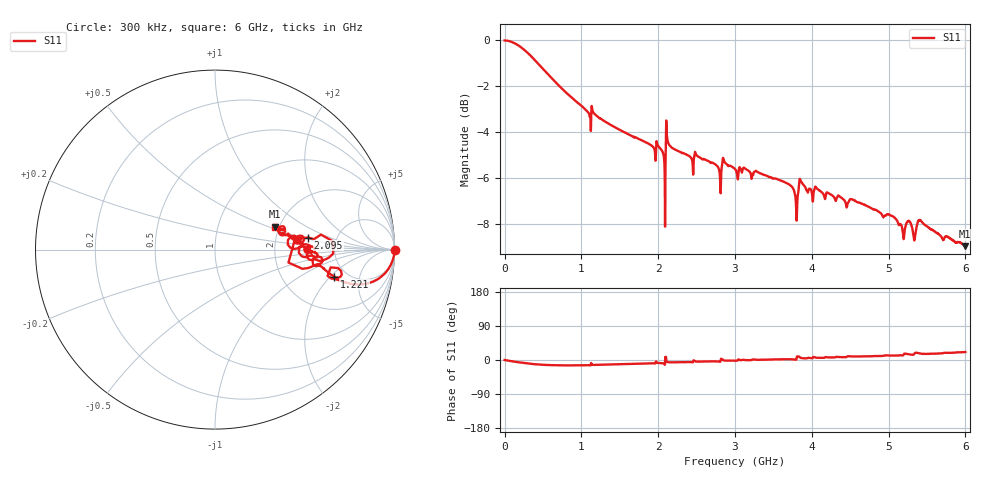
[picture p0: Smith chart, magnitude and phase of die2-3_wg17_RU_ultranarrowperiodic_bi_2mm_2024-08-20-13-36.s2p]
!Keysight Technologies,P9374A,MY57304198,A.17.20.09
!Date: Tuesday, August 20, 2024 13:36:56
!Correction: S11(C  1-Port  )
!S21(C  1-Port  )
!S12(Off)
!S22(Off)
!S2P File: Measurements: S11, S21, S12, S22:
# Hz S  dB  R 50
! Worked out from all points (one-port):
!   6000 points, 300 kHz to 6 GHz, reference 50 ohm
!   lowest |S11| = -9.0 dB at 5.999 GHz (marker M1), VSWR 2.11, Z = 94.5 + j27.8 ohm
!   |S11| at or under -10 dB: nowhere
!   S11 on the Smith chart (normalised r, x): 300 kHz: open; 1.221 GHz: 3.95, -2.22; 2.095 GHz: 3.08, +0.57; 6 GHz: 1.89, +0.56
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300000  0.00 -0.0  -200.00 45.0  -200.00 45.0  -200.00 45.0
2.31327e8  -0.34 -7.4  -200.00 45.0  -200.00 45.0  -200.00 45.0
4.143483e8  -0.93 -11.4  -200.00 45.0  -200.00 45.0  -200.00 45.0
1.000417e9  -2.84 -13.9  -200.00 45.0  -200.00 45.0  -200.00 45.0
1.221442e9  -3.34 -12.8  -200.00 45.0  -200.00 45.0  -200.00 45.0
2.000533e9  -4.59 -7.8  -200.00 45.0  -200.00 45.0  -200.00 45.0
2.05854e9  -4.86 -8.3  -200.00 45.0  -200.00 45.0  -200.00 45.0
2.094544e9  -5.62 7.4  -200.00 45.0  -200.00 45.0  -200.00 45.0
2.130549e9  -4.46 -5.9  -200.00 45.0  -200.00 45.0  -200.00 45.0
2.433584e9  -5.14 -5.6  -200.00 45.0  -200.00 45.0  -200.00 45.0
2.502592e9  -5.01 -4.2  -200.00 45.0  -200.00 45.0  -200.00 45.0
2.780624e9  -5.52 -3.8  -200.00 45.0  -200.00 45.0  -200.00 45.0
2.841632e9  -5.14 0.9  -200.00 45.0  -200.00 45.0  -200.00 45.0
3.00065e9  -5.60 -1.7  -200.00 45.0  -200.00 45.0  -200.00 45.0
3.77074e9  -6.55 1.3  -200.00 45.0  -200.00 45.0  -200.00 45.0
3.833747e9  -6.29 9.2  -200.00 45.0  -200.00 45.0  -200.00 45.0
4.000767e9  -6.63 4.3  -200.00 45.0  -200.00 45.0  -200.00 45.0
5.000883e9  -7.57 11.9  -200.00 45.0  -200.00 45.0  -200.00 45.0
5.306919e9  -8.16 13.7  -200.00 45.0  -200.00 45.0  -200.00 45.0
5.373927e9  -7.97 19.0  -200.00 45.0  -200.00 45.0  -200.00 45.0
5.999e9  -8.96 21.1  -200.00 45.0  -200.00 45.0  -200.00 45.0
6e9  -8.96 21.2  -200.00 45.0  -200.00 45.0  -200.00 45.0
